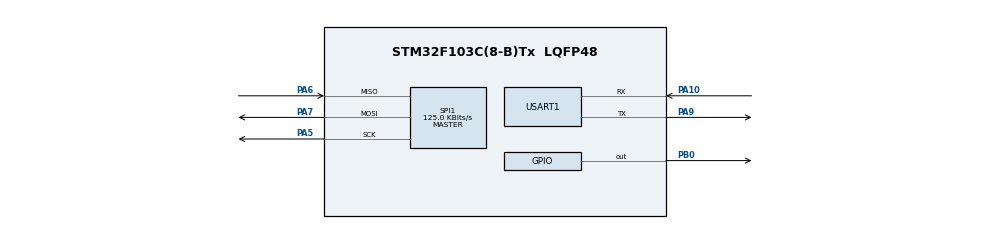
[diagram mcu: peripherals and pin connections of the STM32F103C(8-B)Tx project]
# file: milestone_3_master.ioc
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Mcu.Family=STM32F1
Mcu.Name=STM32F103C(8-B)Tx
Mcu.Package=LQFP48
NVIC.PriorityGroup=NVIC_PRIORITYGROUP_4
PA10.Mode=Asynchronous
PA10.Signal=USART1_RX
PA13.Mode=Serial_Wire
PA13.Signal=SYS_JTMS-SWDIO
PA14.Mode=Serial_Wire
PA14.Signal=SYS_JTCK-SWCLK
PA5.Mode=Full_Duplex_Master
PA5.Signal=SPI1_SCK
PA6.Mode=Full_Duplex_Master
PA6.Signal=SPI1_MISO
PA7.Mode=Full_Duplex_Master
PA7.Signal=SPI1_MOSI
PA9.Mode=Asynchronous
PA9.Signal=USART1_TX
PB0.Signal=GPIO_Output
ProjectManager.HeapSize=0x200
ProjectManager.StackSize=0x400
ProjectManager.TargetToolchain=STM32CubeIDE
RCC.APB1Freq_Value=8000000
RCC.APB2Freq_Value=8000000
SPI1.BaudRatePrescaler=SPI_BAUDRATEPRESCALER_64
SPI1.CalculateBaudRate=125.0 KBits/s
SPI1.Direction=SPI_DIRECTION_2LINES
SPI1.Mode=SPI_MODE_MASTER
SPI1.VirtualType=VM_MASTER
USART1.VirtualMode=VM_ASYNC
board=custom

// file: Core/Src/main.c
/* USER CODE BEGIN Header */
/**
  ******************************************************************************
  * @file           : main.c
  * @brief          : Main program body
  ******************************************************************************
  * @attention
  *
  * Copyright (c) 2026 STMicroelectronics.
  * All rights reserved.
  *
  * This software is licensed under terms that can be found in the LICENSE file
  * in the root directory of this software component.
  * If no LICENSE file comes with this software, it is provided AS-IS.
  *
  ******************************************************************************
  */
/* USER CODE END Header */
#include "main.h"
#include <stdio.h>

SPI_HandleTypeDef hspi1;

UART_HandleTypeDef huart1;

void SystemClock_Config(void);
static void MX_GPIO_Init(void);
static void MX_SPI1_Init(void);
static void MX_USART1_UART_Init(void);

int main(void)
{

  /* MCU Configuration--------------------------------------------------------*/

  /* Reset of all peripherals, Initializes the Flash interface and the Systick. */
  HAL_Init();

  /* Configure the system clock */
  SystemClock_Config();

  /* Initialize all configured peripherals */
  MX_GPIO_Init();
  MX_SPI1_Init();
  MX_USART1_UART_Init();
  /* USER CODE BEGIN 2 */

  uint32_t DataP;

  uint16_t ID_Request;
  uint16_t Raw_Temp;
  uint16_t Raw_Humidity;
  uint16_t tempValue;
  uint16_t humidityValue;

  uint8_t requestBytes[2];
  uint8_t RX_Char;
  uint8_t ID;
  uint8_t Dummy_RX[2];
  uint8_t Dummy_TX[3] = {0};
  uint8_t responseBytes[3];

  char message[100];
  char *product;
  int mesag;

  HAL_GPIO_WritePin(GPIOB, GPIO_PIN_0, GPIO_PIN_SET);

  /* USER CODE END 2 */

  /* Infinite loop */
  /* USER CODE BEGIN WHILE */
  while (1)
  {
	  if (HAL_UART_Receive(&huart1, &RX_Char, 1, HAL_MAX_DELAY) == HAL_OK)
	        {
	            ID = RX_Char - '0';

	            if (ID >= 1 && ID <= 5)
	            {
	                ID_Request = 0x1000 + ID;
	                requestBytes[0] = (ID_Request >> 8) & 0xFF;
	                requestBytes[1] = ID_Request & 0xFF;

	                HAL_GPIO_WritePin(GPIOB, GPIO_PIN_0, GPIO_PIN_RESET);

	                HAL_SPI_TransmitReceive(&hspi1, requestBytes, Dummy_RX, 2, 100);
	                HAL_GPIO_WritePin(GPIOB, GPIO_PIN_0, GPIO_PIN_SET);

	                HAL_Delay(50);

	                HAL_GPIO_WritePin(GPIOB, GPIO_PIN_0, GPIO_PIN_RESET);
	                HAL_SPI_TransmitReceive(&hspi1, Dummy_TX, responseBytes, 3, 100);
	                HAL_GPIO_WritePin(GPIOB, GPIO_PIN_0, GPIO_PIN_SET);

	                DataP = (responseBytes[0] << 16) | (responseBytes[1] << 8) | responseBytes[2];

	                Raw_Temp = (DataP >> 12) & 0xFFF;
	                Raw_Humidity = DataP & 0xFFF;

	                tempValue = (uint16_t)(((float)Raw_Temp * 500.0f / 4095.0f) + 0.5f);
	                humidityValue = (uint16_t)(((float)Raw_Humidity * 100.0f / 4095.0f) + 0.5f);

	                switch(ID)
	                {

	                case 1:
	                {
	                	product = "Tomato"; break;
	                }
	                case 2:
	                {
	                	product = "Cucumber"; break;
	                }
	                case 3:
	                {
	                	product = "Pepper"; break;
	                }
	                case 4:
	                {
	                	product = "Lettuce"; break;
	                }
	                case 5:
	                {
	                	product = "Onion"; break;
	                }
	                default:
	                {
	                	product = "Unavailable"; break;
	                }

	                }

	                mesag = snprintf(message, sizeof(message), "\r\n--- Greenhouse Zone %u Status ---\r\n", ID);
	                HAL_UART_Transmit(&huart1, (uint8_t *)message, mesag, 100);

	                mesag = snprintf(message, sizeof(message), "Product       : %s\r\n", product);
	                HAL_UART_Transmit(&huart1, (uint8_t *)message, mesag, 100);

	                mesag = snprintf(message, sizeof(message), "Temperature   : %u.%u C\r\nSoil Humidity : %u %%\r\n",
	                                 tempValue / 10, tempValue % 10, humidityValue);
	                HAL_UART_Transmit(&huart1, (uint8_t *)message, mesag, 100);
	            }
	            else
	            {
	                mesag = snprintf(message, sizeof(message), "Invalid ID! Please enter 1 to 5.\r\n");
	                HAL_UART_Transmit(&huart1, (uint8_t *)message, mesag, 100);
	            }
	        }
    /* USER CODE END WHILE */

  }
}

void SystemClock_Config(void)
{
  RCC_OscInitTypeDef RCC_OscInitStruct = {0};
  RCC_ClkInitTypeDef RCC_ClkInitStruct = {0};

  /** Initializes the RCC Oscillators according to the specified parameters
  * in the RCC_OscInitTypeDef structure.
  */
  RCC_OscInitStruct.OscillatorType = RCC_OSCILLATORTYPE_HSI;
  RCC_OscInitStruct.HSIState = RCC_HSI_ON;
  RCC_OscInitStruct.HSICalibrationValue = RCC_HSICALIBRATION_DEFAULT;
  RCC_OscInitStruct.PLL.PLLState = RCC_PLL_NONE;
  if (HAL_RCC_OscConfig(&RCC_OscInitStruct) != HAL_OK)
  {
    Error_Handler();
  }

  /** Initializes the CPU, AHB and APB buses clocks
  */
  RCC_ClkInitStruct.ClockType = RCC_CLOCKTYPE_HCLK|RCC_CLOCKTYPE_SYSCLK
                              |RCC_CLOCKTYPE_PCLK1|RCC_CLOCKTYPE_PCLK2;
  RCC_ClkInitStruct.SYSCLKSource = RCC_SYSCLKSOURCE_HSI;
  RCC_ClkInitStruct.AHBCLKDivider = RCC_SYSCLK_DIV1;
  RCC_ClkInitStruct.APB1CLKDivider = RCC_HCLK_DIV1;
  RCC_ClkInitStruct.APB2CLKDivider = RCC_HCLK_DIV1;

  if (HAL_RCC_ClockConfig(&RCC_ClkInitStruct, FLASH_LATENCY_0) != HAL_OK)
  {
    Error_Handler();
  }
}

static void MX_SPI1_Init(void)
{

  /* SPI1 parameter configuration*/
  hspi1.Instance = SPI1;
  hspi1.Init.Mode = SPI_MODE_MASTER;
  hspi1.Init.Direction = SPI_DIRECTION_2LINES;
  hspi1.Init.DataSize = SPI_DATASIZE_8BIT;
  hspi1.Init.CLKPolarity = SPI_POLARITY_LOW;
  hspi1.Init.CLKPhase = SPI_PHASE_1EDGE;
  hspi1.Init.NSS = SPI_NSS_SOFT;
  hspi1.Init.BaudRatePrescaler = SPI_BAUDRATEPRESCALER_64;
  hspi1.Init.FirstBit = SPI_FIRSTBIT_MSB;
  hspi1.Init.TIMode = SPI_TIMODE_DISABLE;
  hspi1.Init.CRCCalculation = SPI_CRCCALCULATION_DISABLE;
  hspi1.Init.CRCPolynomial = 10;
  if (HAL_SPI_Init(&hspi1) != HAL_OK)
  {
    Error_Handler();
  }

}

static void MX_USART1_UART_Init(void)
{

  huart1.Instance = USART1;
  huart1.Init.BaudRate = 9600;
  huart1.Init.WordLength = UART_WORDLENGTH_8B;
  huart1.Init.StopBits = UART_STOPBITS_1;
  huart1.Init.Parity = UART_PARITY_NONE;
  huart1.Init.Mode = UART_MODE_TX_RX;
  huart1.Init.HwFlowCtl = UART_HWCONTROL_NONE;
  huart1.Init.OverSampling = UART_OVERSAMPLING_16;
  if (HAL_UART_Init(&huart1) != HAL_OK)
  {
    Error_Handler();
  }

}

static void MX_GPIO_Init(void)
{
  GPIO_InitTypeDef GPIO_InitStruct = {0};

  /* GPIO Ports Clock Enable */
  __HAL_RCC_GPIOA_CLK_ENABLE();
  __HAL_RCC_GPIOB_CLK_ENABLE();

  /*Configure GPIO pin Output Level */
  HAL_GPIO_WritePin(GPIOB, GPIO_PIN_0, GPIO_PIN_RESET);

  /*Configure GPIO pin : PB0 */
  GPIO_InitStruct.Pin = GPIO_PIN_0;
  GPIO_InitStruct.Mode = GPIO_MODE_OUTPUT_PP;
  GPIO_InitStruct.Pull = GPIO_NOPULL;
  GPIO_InitStruct.Speed = GPIO_SPEED_FREQ_LOW;
  HAL_GPIO_Init(GPIOB, &GPIO_InitStruct);

}

void Error_Handler(void)
{
  __disable_irq();
  while (1)
  {
  }
}
